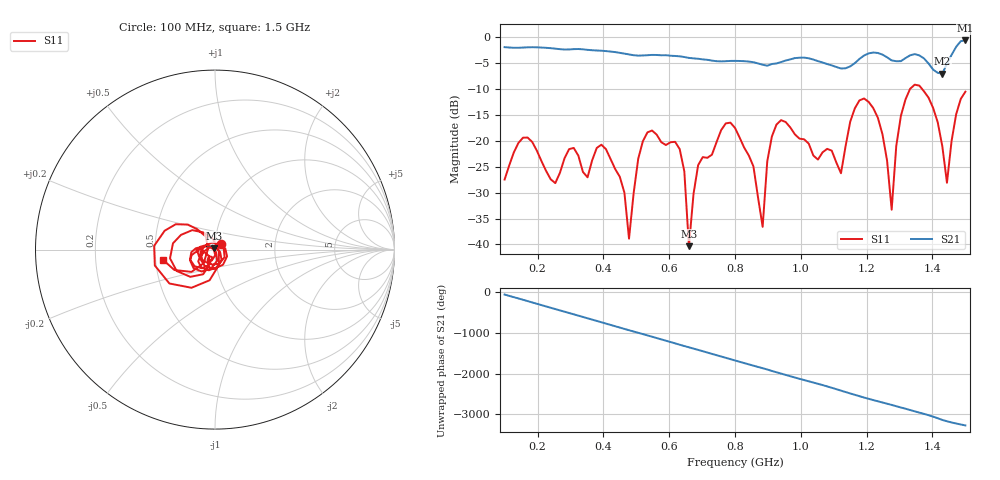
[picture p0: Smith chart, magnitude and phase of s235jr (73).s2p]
! NanoVNA-App
! Date: 2025-09-25 15:04:44
! Start: 100MHz Stop: 1,5GHz Points: 101
! S-Parameter data: F S11 S21 S12 S22
# Hz S RI R 50
!  Frequency  S11_Real  S11_Imag  S21_Real  S21_Imag  S12_Real  S12_Imag  S22_Real  S22_Imag
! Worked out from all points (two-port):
!   101 points, 100 MHz to 1.5 GHz, reference 50 ohm
!   highest |S21| = -0.67 dB at 1.5 GHz (marker M1); lowest = -7.1 dB at 1.43 GHz (marker M2)
!   |S21| within 3 dB of the highest: start of sweep to 620 MHz; 1.19 GHz to 1.255 GHz (65.39 MHz wide, 5.35 % of centre) (the widest 2 of 4)
!   lowest |S11| = -40.3 dB at 660 MHz (marker M3), VSWR 1.02, Z = 49.3 + j0.641 ohm
!   |S11| at or under -10 dB: start of sweep to 1.332 GHz; 1.368 GHz to end of sweep
!   S12 and S22 are empty: the file has one direction only
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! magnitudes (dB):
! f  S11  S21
! 100 MHz  -27.5  -2.0
! 156 MHz  -19.4  -2.0
! 338 MHz  -26.0  -2.4
! 408 MHz  -21.6  -2.7
! 478 MHz  -38.9  -3.4
! 520 MHz  -20.1  -3.6
! 576 MHz  -20.3  -3.5
! 632 MHz  -21.6  -3.7
! 660 MHz  -40.3  -4.0
! 688 MHz  -24.7  -4.2
! 800 MHz  -17.5  -4.6
! 884 MHz  -36.6  -5.3
! 926 MHz  -16.9  -5.1
! 1.038 GHz  -22.9  -4.4
! 1.122 GHz  -26.3  -6.1
! 1.192 GHz  -11.9  -3.6
! 1.248 GHz  -18.8  -3.4
! 1.276 GHz  -33.3  -4.5
! 1.332 GHz  -10.0  -3.5
! 1.43 GHz  -21.1  -7.1
! 1.444 GHz  -28.1  -5.1
! 1.5 GHz  -10.6  -0.7
